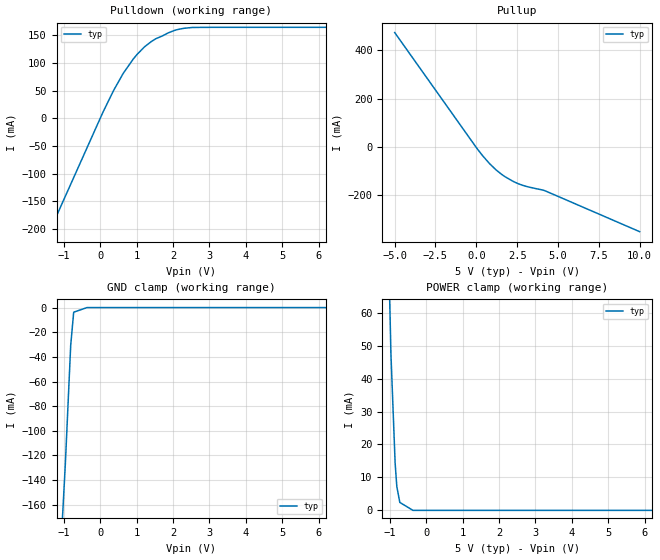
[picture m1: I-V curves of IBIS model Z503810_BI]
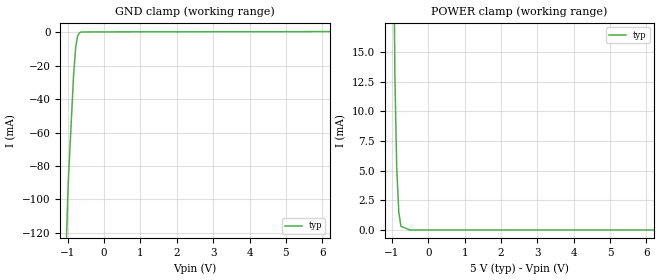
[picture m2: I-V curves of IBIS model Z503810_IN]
| YOU ARE ONLY AUTHORIZED TO USE THIS SOFTWARE
| ACCORDING TO LICENSOR'S LICENSE RESTRICTIONS.
[IBIS Ver] 3.1
[File Name] mc74ac652dw_5.ibs
[File Rev] 2.0
[Source] Measured and created by ICX Technology
[Date] Friday 7/14/00 9:08:00 AM
[Copyright]
| (C) COPYRIGHT 1993-2000
| MENTOR GRAPHICS CORPORATION
| ICX STANDARD LIBRARY, ICX PROJECT MODELING,
| ICX CUSTOM MODELING, ICX VENDOR MODEL
| ALL RIGHTS RESERVED.
| THE FOLLOWING ARE TRADEMARKS OR SERVICE MARKS OF
| MENTOR GRAPHICS CORPORATION:ICX (R), ICX STANDARD
| LIBRARY(R), ICX PROJECT MODELING(R), ICX CUSTOM
| MODELING(R), qualityIBIS(TM), MODELVIEWER(TM),
| AND MODELEDITOR(TM)
| ALL COPIES OF SOFTWARE, INCLUDING BUT NOT LIMITED TO
| ANY MODIFICATIONS, ENHANCEMENTS OR DERIVATIVE WORKS,
| MUST CONTAIN ALL MENTOR GRAPHICS CORPORATION'S
| NOTICES AND LEGENDS, INCLUDING THOSE EMBEDDED IN
| SOFTWARE AND THOSE AFFIXED TO SOFTWARE MEDIUM
| AND CONTAINER, AS RECEIVED FROM MENTOR GRAPHICS
| CORPORATION.
|  ZAP Model Builder 2.7
[Component] MC74AC652DW_5
[Manufacturer] OnSemiconductor
[Package]
| variable   typ   min   max
R_pkg  .18ohms NA NA
L_pkg  4.67nH NA NA
C_pkg  .637pF NA NA
[Pin] signal_name  model_name  R_pin  L_pin C_pin
1 CAB Z503810_IN .19 5.862n .712p
2 SAB Z503810_IN .186 5.372n .682p
3 GAB Z503810_IN .182 4.892n .652p
4 A0 Z503810_BI .178 4.422n .622p
5 A1 Z503810_BI .174 3.962n .592p
6 A2 Z503810_BI .17 3.512n .562p
7 A3 Z503810_BI .17 3.512n .562p
8 A4 Z503810_BI .174 3.962n .592p
9 A5 Z503810_BI .178 4.422n .622p
10 A6 Z503810_BI .182 4.892n .652p
11 A7 Z503810_BI .186 5.372n .682p
12 GND GND .19 5.862n .712p
13 B7 Z503810_BI .19 5.862n .712p
14 B6 Z503810_BI .186 5.372n .682p
15 B5 Z503810_BI .182 4.892n .652p
16 B4 Z503810_BI .178 4.422n .622p
17 B3 Z503810_BI .174 3.962n .592p
18 B2 Z503810_BI .17 3.512n .562p
19 B1 Z503810_BI .17 3.512n .562p
20 B0 Z503810_BI .174 3.962n .592p
21 _GBA Z503810_IN .178 4.422n .622p
22 SBA Z503810_IN .182 4.892n .652p
23 CBA Z503810_IN .186 5.372n .682p
24 VCC POWER .19 5.862n .712p
| Models and submodels in the file (2): Z503810_BI (I/O), Z503810_IN (Input)
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| (C) COPYRIGHT 1993-2000
| MENTOR GRAPHICS CORPORATION
| ICX STANDARD LIBRARY, ICX PROJECT MODELING,
| ICX CUSTOM MODELING, ICX VENDOR MODEL
| ALL RIGHTS RESERVED.
| THE FOLLOWING ARE TRADEMARKS OR SERVICE MARKS OF
| MENTOR GRAPHICS CORPORATION:ICX (R), ICX STANDARD
| LIBRARY(R), ICX PROJECT MODELING(R), ICX CUSTOM
| MODELING(R), qualityIBIS(TM), MODELVIEWER(TM),
| AND MODELEDITOR(TM)
| ALL COPIES OF SOFTWARE, INCLUDING BUT NOT LIMITED TO
| ANY MODIFICATIONS, ENHANCEMENTS OR DERIVATIVE WORKS,
| MUST CONTAIN ALL MENTOR GRAPHICS CORPORATION'S
| NOTICES AND LEGENDS, INCLUDING THOSE EMBEDDED IN
| SOFTWARE AND THOSE AFFIXED TO SOFTWARE MEDIUM
| AND CONTAINER, AS RECEIVED FROM MENTOR GRAPHICS
| CORPORATION.
| Model Application Version 1.89 2/18/99.
[Model] Z503810_BI
Model_type I/O
Vinl=1.500V
Vinh=3.500V
Vref=0.000V
Rref=500.0ohms
Cref=50.00pF
Vmeas=2.500V
C_comp 8.000pF NA NA
| variable typ   min   max
[Voltage Range] 5.000V NA NA
[POWER Clamp Reference] 5.000V NA NA
[Pullup Reference] 5.000V NA NA
[Pulldown Reference] 0.000V NA NA
[GND Clamp Reference] 0.000V NA NA
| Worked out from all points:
|   slope of the pulldown table from 0 to 0.75 V, typ, clamps not added: 8.13 ohm
|   slope of the pullup table from 0 to 0.75 V, typ, clamps not added: 12.1 ohm
[GND Clamp]
-5V       -2.373A    NA         NA
-957.5mV  -126.6mA   NA         NA
-810.1mV  -30.41mA   NA         NA
-728.7mV  -3.768mA   NA         NA
-364.3mV  0A         NA         NA
10V       0A         NA         NA
[Pulldown]
-5V       -734.1mA   NA         NA
73.85mV   11.03mA    NA         NA
371.9mV   51.02mA    NA         NA
634.9mV   81.65mA    NA         NA
908.7mV   107.3mA    NA         NA
1.221V    129.5mA    NA         NA
1.412V    139.2mA    NA         NA
1.875V    154.7mA    NA         NA
2.188V    161.4mA    NA         NA
2.525V    164.2mA    NA         NA
10V       164.5mA    NA         NA
[Pullup]
-5V       474.2mA    NA         NA
36mV      -5.847mA   NA         NA
806mV     -68.71mA   NA         NA
1.197V    -94.39mA   NA         NA
1.803V    -125.2mA   NA         NA
2.399V    -147.3mA   NA         NA
3.022V    -162.7mA   NA         NA
4.203V    -181.4mA   NA         NA
10V       -351mA     NA         NA
[POWER Clamp]
-5V       1.963A     NA         NA
-966mV    47.34mA    NA         NA
-851mV    14.29mA    NA         NA
-805mV    7.236mA    NA         NA
-722mV    2.407mA    NA         NA
-361mV    0A         NA         NA
10V       0A         NA         NA
[Ramp]
| variable typ min max
dV/dt_r 2.952/305.6p NA NA
dV/dt_f 2.952/346.4p NA NA
R_load = 500.0Ohms
| (C) COPYRIGHT 1993-2000
| MENTOR GRAPHICS CORPORATION
| ICX STANDARD LIBRARY, ICX PROJECT MODELING,
| ICX CUSTOM MODELING, ICX VENDOR MODEL
| ALL RIGHTS RESERVED.
| THE FOLLOWING ARE TRADEMARKS OR SERVICE MARKS OF
| MENTOR GRAPHICS CORPORATION:ICX (R), ICX STANDARD
| LIBRARY(R), ICX PROJECT MODELING(R), ICX CUSTOM
| MODELING(R), qualityIBIS(TM), MODELVIEWER(TM),
| AND MODELEDITOR(TM)
| ALL COPIES OF SOFTWARE, INCLUDING BUT NOT LIMITED TO
| ANY MODIFICATIONS, ENHANCEMENTS OR DERIVATIVE WORKS,
| MUST CONTAIN ALL MENTOR GRAPHICS CORPORATION'S
| NOTICES AND LEGENDS, INCLUDING THOSE EMBEDDED IN
| SOFTWARE AND THOSE AFFIXED TO SOFTWARE MEDIUM
| AND CONTAINER, AS RECEIVED FROM MENTOR GRAPHICS
| CORPORATION.
| Model Application Version 1.89 2/18/99.
[Model] Z503810_IN
Model_type Input
Vinl = 1.500V
Vinh = 3.500V
C_comp 4.000pF NA NA
| variable typ   min   max
[Voltage Range] 5.000V NA NA
[GND Clamp Reference] 0.000V NA NA
[POWER Clamp Reference] 5.000V NA NA
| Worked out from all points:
|   GND clamp passes 1 mA (typ) near -0.70 V on its own axis
|   POWER clamp passes 1 mA (typ) near -0.79 V on its own axis
[GND Clamp]
-5V       -2.939A    NA         NA
-988.5mV  -90.98mA   NA         NA
-839.8mV  -26.2mA    NA         NA
-781.1mV  -9.24mA    NA         NA
-729.1mV  -2.398mA   NA         NA
-687.3mV  -607.6uA   NA         NA
-648.3mV  -43.92uA   NA         NA
10V       676.2uA    NA         NA
[POWER Clamp]
-5V       3.228A     NA         NA
-1.117V   108.3mA    NA         NA
-1.02V    49.81mA    NA         NA
-918mV    12.91mA    NA         NA
-868mV    5.268mA    NA         NA
-811mV    1.523mA    NA         NA
-752mV    300.8uA    NA         NA
-501.3mV  0A         NA         NA
10V       0A         NA         NA
